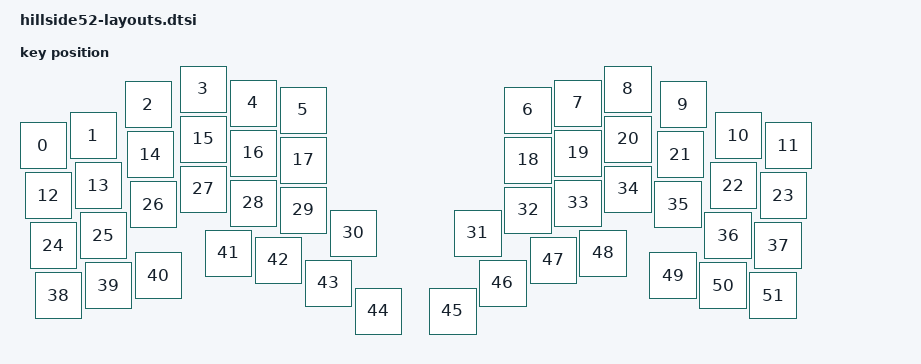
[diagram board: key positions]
#include <physical_layouts.dtsi>

/ {
    hillside_layout: hillside_layout {
        compatible = "zmk,physical-layout";
        display-name = "Hillside";

        /// kscan = <&kscan0>;
        /// transform = <&default_transform>;

        keys  //                     w   h    x    y     rot    rx    ry
            = <&key_physical_attrs 100 100    0  113       0     0     0>
            , <&key_physical_attrs 100 100  100   93       0     0     0>
            , <&key_physical_attrs 100 100  210   31       0     0     0>
            , <&key_physical_attrs 100 100  320    0       0     0     0>
            , <&key_physical_attrs 100 100  420   28       0     0     0>
            , <&key_physical_attrs 100 100  520   42       0     0     0>
            , <&key_physical_attrs 100 100  970   42       0     0     0>
            , <&key_physical_attrs 100 100 1070   28       0     0     0>
            , <&key_physical_attrs 100 100 1170    0       0     0     0>
            , <&key_physical_attrs 100 100 1280   31       0     0     0>
            , <&key_physical_attrs 100 100 1390   93       0     0     0>
            , <&key_physical_attrs 100 100 1490  113       0     0     0>
            , <&key_physical_attrs 100 100   10  213       0     0     0>
            , <&key_physical_attrs 100 100  110  193       0     0     0>
            , <&key_physical_attrs 100 100  215  131       0     0     0>
            , <&key_physical_attrs 100 100  320  100       0     0     0>
            , <&key_physical_attrs 100 100  420  128       0     0     0>
            , <&key_physical_attrs 100 100  520  142       0     0     0>
            , <&key_physical_attrs 100 100  970  142       0     0     0>
            , <&key_physical_attrs 100 100 1070  128       0     0     0>
            , <&key_physical_attrs 100 100 1170  100       0     0     0>
            , <&key_physical_attrs 100 100 1275  131       0     0     0>
            , <&key_physical_attrs 100 100 1380  193       0     0     0>
            , <&key_physical_attrs 100 100 1480  213       0     0     0>
            , <&key_physical_attrs 100 100   20  313       0     0     0>
            , <&key_physical_attrs 100 100  120  293       0     0     0>
            , <&key_physical_attrs 100 100  220  231       0     0     0>
            , <&key_physical_attrs 100 100  320  200       0     0     0>
            , <&key_physical_attrs 100 100  420  228       0     0     0>
            , <&key_physical_attrs 100 100  520  242       0     0     0>
            , <&key_physical_attrs 100 100  620  288       0     0     0>
            , <&key_physical_attrs 100 100  870  288       0     0     0>
            , <&key_physical_attrs 100 100  970  242       0     0     0>
            , <&key_physical_attrs 100 100 1070  228       0     0     0>
            , <&key_physical_attrs 100 100 1170  200       0     0     0>
            , <&key_physical_attrs 100 100 1270  231       0     0     0>
            , <&key_physical_attrs 100 100 1370  293       0     0     0>
            , <&key_physical_attrs 100 100 1470  313       0     0     0>
            , <&key_physical_attrs 100 100   30  413       0     0     0>
            , <&key_physical_attrs 100 100  130  393       0     0     0>
            , <&key_physical_attrs 100 100  230  373       0     0     0>
            , <&key_physical_attrs 100 100  370  328       0     0     0>
            , <&key_physical_attrs 100 100  470  342       0     0     0>
            , <&key_physical_attrs 100 100  570  388       0     0     0>
            , <&key_physical_attrs 100 100  670  444       0     0     0>
            , <&key_physical_attrs 100 100  820  444       0     0     0>
            , <&key_physical_attrs 100 100  920  388       0     0     0>
            , <&key_physical_attrs 100 100 1020  342       0     0     0>
            , <&key_physical_attrs 100 100 1120  328       0     0     0>
            , <&key_physical_attrs 100 100 1260  373       0     0     0>
            , <&key_physical_attrs 100 100 1360  393       0     0     0>
            , <&key_physical_attrs 100 100 1460  413       0     0     0>
            ;
    };
};

